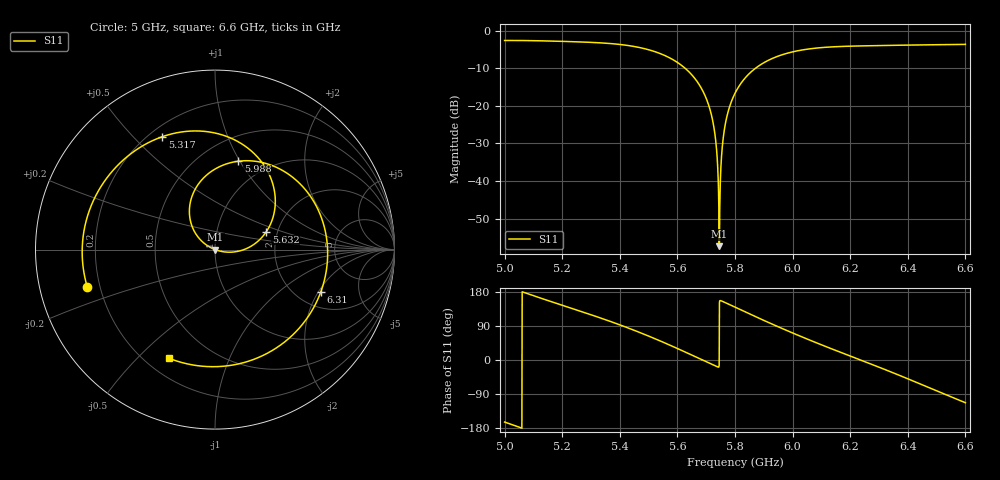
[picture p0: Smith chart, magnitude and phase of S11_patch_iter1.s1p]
! openEMS
# GHZ S MA R 50
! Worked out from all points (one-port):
!   1601 points, 5 GHz to 6.6 GHz, reference 50 ohm
!   lowest |S11| = -57.3 dB at 5.745 GHz (marker M1), VSWR 1.00, Z = 50.1 - j0.033 ohm
!   |S11| at or under -10 dB: 5.627 GHz to 5.871 GHz (244.1 MHz wide, 4.25 % of centre)
!   S11 on the Smith chart (normalised r, x): 5 GHz: 0.15, -0.14; 5.317 GHz: 0.25, +0.61; 5.632 GHz: 1.75, +0.39; 5.988 GHz: 0.74, +0.99; 6.31 GHz: 2.65, -2.11; 6.6 GHz: 0.29, -0.63
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5  0.7414 -163.8
5.096  0.737 170.8
5.2  0.7212 144.4
5.317  0.6942 115.1
5.4  0.6562 92.8
5.513  0.5397 59.0
5.6  0.3784 30.4
5.632  0.3038 19.4
5.681  0.1775 2.1
5.713  0.09002 -9.2
5.73  0.04291 -15.2
5.735  0.02905 -16.9
5.74  0.01519 -18.4
5.745  0.001363 -14.0
5.751  0.01521 156.4
5.757  0.03172 154.6
5.766  0.05634 151.5
5.78  0.09419 146.6
5.8  0.147 139.5
5.873  0.3205 113.8
5.988  0.5093 75.2
6  0.5227 71.3
6.087  0.5895 44.0
6.2  0.6225 10.5
6.31  0.635 -21.9
6.4  0.6435 -49.6
6.5  0.6507 -81.4
6.6  0.6575 -112.7
